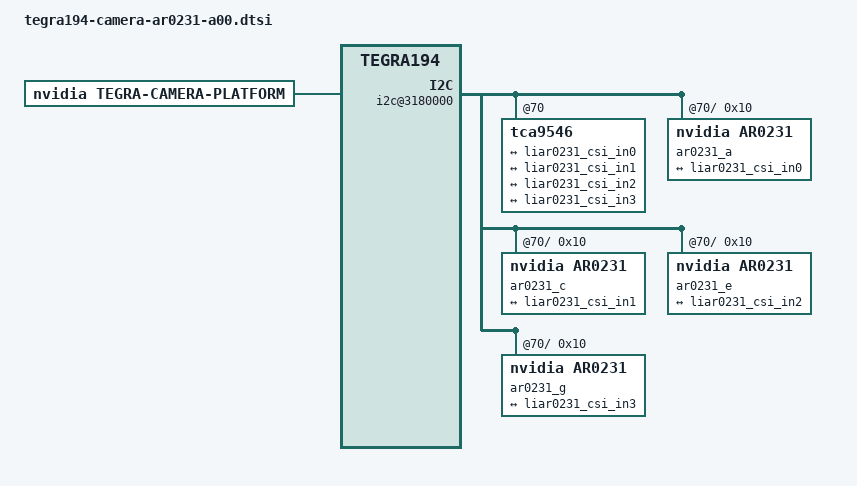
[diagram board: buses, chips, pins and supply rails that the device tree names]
/*
 * Copyright (c) 2020, NVIDIA CORPORATION.  All rights reserved.
 *
 * This program is free software; you can redistribute it and/or modify
 * it under the terms of the GNU General Public License as published by
 * the Free Software Foundation; either version 2 of the License, or
 * (at your option) any later version.
 *
 * This program is distributed in the hope that it will be useful, but WITHOUT
 * ANY WARRANTY; without even the implied warranty of MERCHANTABILITY or
 * FITNESS FOR A PARTICULAR PURPOSE.  See the GNU General Public License for
 * more details.
 *
 * You should have received a copy of the GNU General Public License
 * along with this program.  If not, see <http://www.gnu.org/licenses/>.
 */

/ {
	host1x {
		vi@15c10000 {
			num-channels = <4>;
			ports {
				#address-cells = <1>;
				#size-cells = <0>;
				port@0 {
					reg = <0>;
					liar0231_vi_in0: endpoint {
						port-index = <0>;
						bus-width = <4>;
						remote-endpoint = <&liar0231_csi_out0>;
					};
				};

				port@1 {
					reg = <1>;
					liar0231_vi_in1: endpoint {
						port-index = <2>;
						bus-width = <4>;
						remote-endpoint = <&liar0231_csi_out1>;
					};
				};

				port@2 {
					reg = <2>;
					liar0231_vi_in2: endpoint {
						port-index = <4>;
						bus-width = <4>;
						remote-endpoint = <&liar0231_csi_out2>;
					};
				};
				port@3 {
					reg = <3>;
					liar0231_vi_in3: endpoint {
						port-index = <5>;
						bus-width = <4>;
						remote-endpoint = <&liar0231_csi_out3>;
					};
				};
			};
		};

		nvcsi@15a00000 {
			num-channels = <4>;
			#address-cells = <1>;
			#size-cells = <0>;
			channel@0 {
				reg = <0>;
				ports {
					#address-cells = <1>;
					#size-cells = <0>;
					port@0 {
						reg = <0>;
						liar0231_csi_in0: endpoint@0 {
							port-index = <0>;
							bus-width = <4>;
							remote-endpoint = <&liar0231_ar0231_out0>;
						};
					};
					port@1 {
						reg = <1>;
						liar0231_csi_out0: endpoint@1 {
							remote-endpoint = <&liar0231_vi_in0>;
						};
					};
				};
			};

			channel@1 {
				reg = <1>;
				ports {
					#address-cells = <1>;
					#size-cells = <0>;
					port@0 {
						reg = <0>;
						liar0231_csi_in1: endpoint@2 {
							port-index = <2>;
							bus-width = <4>;
							remote-endpoint = <&liar0231_ar0231_out1>;
						};
					};
					port@1 {
						reg = <1>;
						liar0231_csi_out1: endpoint@3 {
							remote-endpoint = <&liar0231_vi_in1>;
						};
					};
				};
			};

			channel@2 {
				reg = <2>;
				ports {
					#address-cells = <1>;
					#size-cells = <0>;
					port@0 {
						reg = <0>;
						liar0231_csi_in2: endpoint@4 {
							port-index = <4>;
							bus-width = <4>;
							remote-endpoint = <&liar0231_ar0231_out2>;
						};
					};
					port@1 {
						reg = <1>;
						liar0231_csi_out2: endpoint@5 {
							remote-endpoint = <&liar0231_vi_in2>;
						};
					};
				};
			};

			channel@3 {
				reg = <3>;
				ports {
					#address-cells = <1>;
					#size-cells = <0>;
					port@0 {
						reg = <0>;
						liar0231_csi_in3: endpoint@6 {
							port-index = <6>;
							bus-width = <4>;
							remote-endpoint = <&liar0231_ar0231_out3>;
						};
					};
					port@1 {
						reg = <1>;
						liar0231_csi_out3: endpoint@7 {
							remote-endpoint = <&liar0231_vi_in3>;
						};
					};
				};
			};
		};
	};

	i2c@3180000 {
		tca9546@70 {
			i2c@0 {
				ar0231_a@10 {
					compatible = "nvidia,ar0231";
					/* I2C device address */
					reg = <0x10>;

					/* V4L2 device node location */
					devnode = "video0";

					/* Physical dimensions of sensor */
					physical_w = "3.674";
					physical_h = "2.738";

					sensor_model = "ar0231";

					/* Define any required hw resources needed by driver */
					/* ie. clocks, io pins, power sources */
					avdd-reg = "vana";
					iovdd-reg = "vif";

					/* Defines number of frames to be dropped by driver internally after applying */
					/* sensor crop settings. Some sensors send corrupt frames after applying */
					/* crop co-ordinates */
					/*post_crop_frame_drop = "0";*/

					/* if true, delay gain setting by one frame to be in sync with exposure */
					delayed_gain = "true";

					/* has-eeprom; */
					/* fuse_id_start_addr = <91>; */
					mode0 {
						mclk_khz = "24000";
						num_lanes = "4";
						tegra_sinterface = "serial_a";
						phy_mode = "DPHY";
						discontinuous_clk = "yes";
						dpcm_enable = "false";
						cil_settletime = "0";

						active_w = "1928";
						active_h = "1208";
						mode_type = "bayer";
						pixel_phase = "grbg";
						csi_pixel_bit_depth = "12";
						readout_orientation = "0";
						line_length = "1928";
						inherent_gain = "1";
						mclk_multiplier = "200";
						pix_clk_hz = "88032480";
						serdes_pix_clk_hz = "833333333";

						gain_factor = "1000000";
						min_gain_val = "1000000";
						max_gain_val = "48000000";
						step_gain_val = "1";
						default_gain = "1000000";
						min_hdr_ratio = "1";
						max_hdr_ratio = "1";
						framerate_factor = "1";
						min_framerate = "30";
						max_framerate = "30";
						step_framerate = "1";
						default_framerate= "30";
						exposure_factor = "1000000";
						min_exp_time = "110";
						max_exp_time = "166577";
						step_exp_time = "1";
						default_exp_time = "6666";
						embedded_metadata_height = "0";
					};
					ports {
						#address-cells = <1>;
						#size-cells = <0>;
						port@0 {
							reg = <0>;
							liar0231_ar0231_out0: endpoint {
								port-index = <0>;
								bus-width = <4>;
								remote-endpoint = <&liar0231_csi_in0>;
							};
						};
					};
				};
			};

			i2c@1 {
				ar0231_c@10 {
					compatible = "nvidia,ar0231";
					/* I2C device address */
					reg = <0x10>;

					/* V4L2 device node location */
					devnode = "video1";

					/* Physical dimensions of sensor */
					physical_w = "3.674";
					physical_h = "2.738";

					sensor_model = "ar0231";

					/* Define any required hw resources needed by driver */
					/* ie. clocks, io pins, power sources */
					avdd-reg = "vana";
					iovdd-reg = "vif";

					/* Defines number of frames to be dropped by driver internally after applying */
					/* sensor crop settings. Some sensors send corrupt frames after applying */
					/* crop co-ordinates */
					/*post_crop_frame_drop = "0";*/

					/* if true, delay gain setting by one frame to be in sync with exposure */
					delayed_gain = "true";

					/* has-eeprom; */
					/* fuse_id_start_addr = <91>; */
					mode0 {
						mclk_khz = "24000";
						num_lanes = "4";
						tegra_sinterface = "serial_c";
						phy_mode = "DPHY";
						discontinuous_clk = "yes";
						dpcm_enable = "false";
						cil_settletime = "0";

						active_w = "1928";
						active_h = "1208";
						mode_type = "bayer";
						pixel_phase = "grbg";
						csi_pixel_bit_depth = "12";
						readout_orientation = "0";
						line_length = "1928";
						inherent_gain = "1";
						mclk_multiplier = "200";
						pix_clk_hz = "88032480";
						serdes_pix_clk_hz = "833333333";

						gain_factor = "1000000";
						min_gain_val = "1000000";
						max_gain_val = "48000000";
						step_gain_val = "1";
						default_gain = "1000000";
						min_hdr_ratio = "1";
						max_hdr_ratio = "1";
						framerate_factor = "1";
						min_framerate = "30";
						max_framerate = "30";
						step_framerate = "1";
						default_framerate= "30";
						exposure_factor = "1000000";
						min_exp_time = "110";
						max_exp_time = "166577";
						step_exp_time = "1";
						default_exp_time = "6666";/* us */
						embedded_metadata_height = "0";
					};
					ports {
						#address-cells = <1>;
						#size-cells = <0>;
						port@0 {
							reg = <0>;
							liar0231_ar0231_out1: endpoint {
								port-index = <2>;
								bus-width = <4>;
								remote-endpoint = <&liar0231_csi_in1>;
							};
						};
					};
				};
			};

			i2c@2 {
				ar0231_e@10 {
					compatible = "nvidia,ar0231";
					/* I2C device address */
					reg = <0x10>;

					/* V4L2 device node location */
					devnode = "video2";

					/* Physical dimensions of sensor */
					physical_w = "3.674";
					physical_h = "2.738";

					sensor_model = "ar0231";

					/* Define any required hw resources needed by driver */
					/* ie. clocks, io pins, power sources */
					avdd-reg = "vana";
					iovdd-reg = "vif";

					/* Defines number of frames to be dropped by driver internally after applying */
					/* sensor crop settings. Some sensors send corrupt frames after applying */
					/* crop co-ordinates */
					/*post_crop_frame_drop = "0";*/

					/* if true, delay gain setting by one frame to be in sync with exposure */
					delayed_gain = "true";

					/* has-eeprom; */
					/* fuse_id_start_addr = <91>; */
					mode0 {
						mclk_khz = "24000";
						num_lanes = "4";
						tegra_sinterface = "serial_e";
						phy_mode = "DPHY";
						discontinuous_clk = "yes";
						dpcm_enable = "false";
						cil_settletime = "0";

						active_w = "1928";
						active_h = "1208";
						mode_type = "bayer";
						pixel_phase = "grbg";
						csi_pixel_bit_depth = "12";
						readout_orientation = "0";
						line_length = "1928";
						inherent_gain = "1";
						mclk_multiplier = "200";
						pix_clk_hz = "88032480";
						serdes_pix_clk_hz = "833333333";

						gain_factor = "1000000";
						min_gain_val = "1000000";
						max_gain_val = "48000000";
						step_gain_val = "1";
						default_gain = "1000000";
						min_hdr_ratio = "1";
						max_hdr_ratio = "1";
						framerate_factor = "1";
						min_framerate = "30";
						max_framerate = "30";
						step_framerate = "1";
						default_framerate= "30";
						exposure_factor = "1000000";
						min_exp_time = "110";
						max_exp_time = "166577";
						step_exp_time = "1";
						default_exp_time = "6666";/* us */
						embedded_metadata_height = "0";
					};
					ports {
						#address-cells = <1>;
						#size-cells = <0>;
						port@0 {
							reg = <0>;
							liar0231_ar0231_out2: endpoint {
								port-index = <4>;
								bus-width = <4>;
								remote-endpoint = <&liar0231_csi_in2>;
							};
						};
					};
				};
			};

			i2c@3 {
				ar0231_g@10 {
					compatible = "nvidia,ar0231";
					/* I2C device address */
					reg = <0x10>;

					/* V4L2 device node location */
					devnode = "video3";

					/* Physical dimensions of sensor */
					physical_w = "3.674";
					physical_h = "2.738";

					sensor_model = "ar0231";

					/* Define any required hw resources needed by driver */
					/* ie. clocks, io pins, power sources */
					avdd-reg = "vana";
					iovdd-reg = "vif";

					/* Defines number of frames to be dropped by driver internally after applying */
					/* sensor crop settings. Some sensors send corrupt frames after applying */
					/* crop co-ordinates */
					/*post_crop_frame_drop = "0";*/

					/* if true, delay gain setting by one frame to be in sync with exposure */
					delayed_gain = "true";

					/* has-eeprom; */
					/* fuse_id_start_addr = <91>; */
					mode0 {
						mclk_khz = "24000";
						num_lanes = "4";
						tegra_sinterface = "serial_g";
						phy_mode = "DPHY";
						discontinuous_clk = "yes";
						dpcm_enable = "false";
						cil_settletime = "0";

						active_w = "1928";
						active_h = "1208";
						mode_type = "bayer";
						pixel_phase = "grbg";
						csi_pixel_bit_depth = "12";
						readout_orientation = "0";
						line_length = "1928";
						inherent_gain = "1";
						mclk_multiplier = "200";
						pix_clk_hz = "88032480";
						serdes_pix_clk_hz = "833333333";

						gain_factor = "1000000";
						min_gain_val = "1000000";
						max_gain_val = "48000000";
						step_gain_val = "1";
						default_gain = "1000000";
						min_hdr_ratio = "1";
						max_hdr_ratio = "1";
						framerate_factor = "1";
						min_framerate = "30";
						max_framerate = "30";
						step_framerate = "1";
						default_framerate= "30";
						exposure_factor = "1000000";
						min_exp_time = "110";
						max_exp_time = "166577";
						step_exp_time = "1";
						default_exp_time = "6666";/* us */
						embedded_metadata_height = "0";
					};
					ports {
						#address-cells = <1>;
						#size-cells = <0>;
						port@0 {
							reg = <0>;
							liar0231_ar0231_out3: endpoint {
								port-index = <4>;
								bus-width = <4>;
								remote-endpoint = <&liar0231_csi_in3>;
							};
						};
					};
				};
			};
		};
	};
	lens_ar0231@A6V26 {
		min_focus_distance = "0.0";
		hyper_focal = "0.0";
		focal_length = "5.00";
		f_number = "2.0";
		aperture = "2.2";
	};
};

/ {
	tegra-camera-platform {
		compatible = "nvidia, tegra-camera-platform";
		/**
		* Physical settings to calculate max ISO BW
		*
		* num_csi_lanes = <>;
		* Total number of CSI lanes when all cameras are active
		*
		* max_lane_speed = <>;
		* Max lane speed in Kbit/s
		*
		* min_bits_per_pixel = <>;
		* Min bits per pixel
		*
		* vi_peak_byte_per_pixel = <>;
		* Max byte per pixel for the VI ISO case
		*
		* vi_bw_margin_pct = <>;
		* Vi bandwidth margin in percentage
		*
		* max_pixel_rate = <>;
		* Max pixel rate in Kpixel/s for the ISP ISO case
		*
		* isp_peak_byte_per_pixel = <>;
		* Max byte per pixel for the ISP ISO case
		*
		* isp_bw_margin_pct = <>;
		* Isp bandwidth margin in percentage
		*/
		num_csi_lanes = <16>;
		max_lane_speed = <1500000>;
		min_bits_per_pixel = <10>;
		vi_peak_byte_per_pixel = <2>;
		vi_bw_margin_pct = <25>;
		max_pixel_rate = <750000>;
		isp_peak_byte_per_pixel = <5>;
		isp_bw_margin_pct = <25>;

		/**
		 * The general guideline for naming badge_info contains 3 parts, and is as follows,
		 * The first part is the camera_board_id for the module; if the module is in a FFD
		 * platform, then use the platform name for this part.
		 * The second part contains the position of the module, ex. "rear" or "front".
		 * The third part contains the last 6 characters of a part number which is found
		 * in the module's specsheet from the vender.
		 */
		modules {
			module0 {
				badge = "ar0231_bottom_A6V26";
				position = "bottom";
				orientation = "1";
				drivernode0 {
					/* Declare PCL support driver (classically known as guid)  */
					pcl_id = "v4l2_sensor";
					/* Driver v4l2 device name */
					devname = "ar0231 30-0010";
					/* Declare the device-tree hierarchy to driver instance */
					proc-device-tree = "/proc/device-tree/i2c@3180000/tca9546@70/i2c@0/ar0231_a@10";
				};
				drivernode1 {
					/* Declare PCL support driver (classically known as guid)  */
					pcl_id = "v4l2_lens";
					proc-device-tree = "/proc/device-tree/lens_ar0231@A6V26/";
				};
			};

			module1 {
				badge = "ar0231_centerleft_A6V26";
				position = "centerleft";
				orientation = "1";
				drivernode0 {
					/* Declare PCL support driver (classically known as guid)  */
					pcl_id = "v4l2_sensor";
					/* Driver v4l2 device name */
					devname = "ar0231 31-0010";
					/* Declare the device-tree hierarchy to driver instance */
					proc-device-tree = "/proc/device-tree/i2c@3180000/tca9546@70/i2c@1/ar0231_c@10";
				};
				drivernode1 {
					/* Declare PCL support driver (classically known as guid)  */
					pcl_id = "v4l2_lens";
					proc-device-tree = "/proc/device-tree/lens_ar0231@A6V26/";
				};
			};

			module2 {
				badge = "ar0231_centerright_A6V26";
				position = "centerright";
				orientation = "1";
				drivernode0 {
					/* Declare PCL support driver (classically known as guid)  */
					pcl_id = "v4l2_sensor";
					/* Driver v4l2 device name */
					devname = "ar0231 32-0010";
					/* Declare the device-tree hierarchy to driver instance */
					proc-device-tree = "/proc/device-tree/i2c@3180000/tca9546@70/i2c@2/ar0231_e@10";
				};
				drivernode1 {
					/* Declare PCL support driver (classically known as guid)  */
					pcl_id = "v4l2_lens";
					proc-device-tree = "/proc/device-tree/lens_ar0231@A6V26/";
				};
			};

			module3 {
				badge = "ar0231_topleft_A6V26";
				position = "topleft";
				orientation = "1";
				drivernode0 {
					/* Declare PCL support driver (classically known as guid)  */
					pcl_id = "v4l2_sensor";
					/* Driver v4l2 device name */
					devname = "ar0231 33-0010";
					/* Declare the device-tree hierarchy to driver instance */
					proc-device-tree = "/proc/device-tree/i2c@3180000/tca9546@70/i2c@3/ar0231_g@10";
				};
				drivernode1 {
					/* Declare PCL support driver (classically known as guid)  */
					pcl_id = "v4l2_lens";
					proc-device-tree = "/proc/device-tree/lens_ar0231@A6V26/";
				};
			};

		};
	};
};
